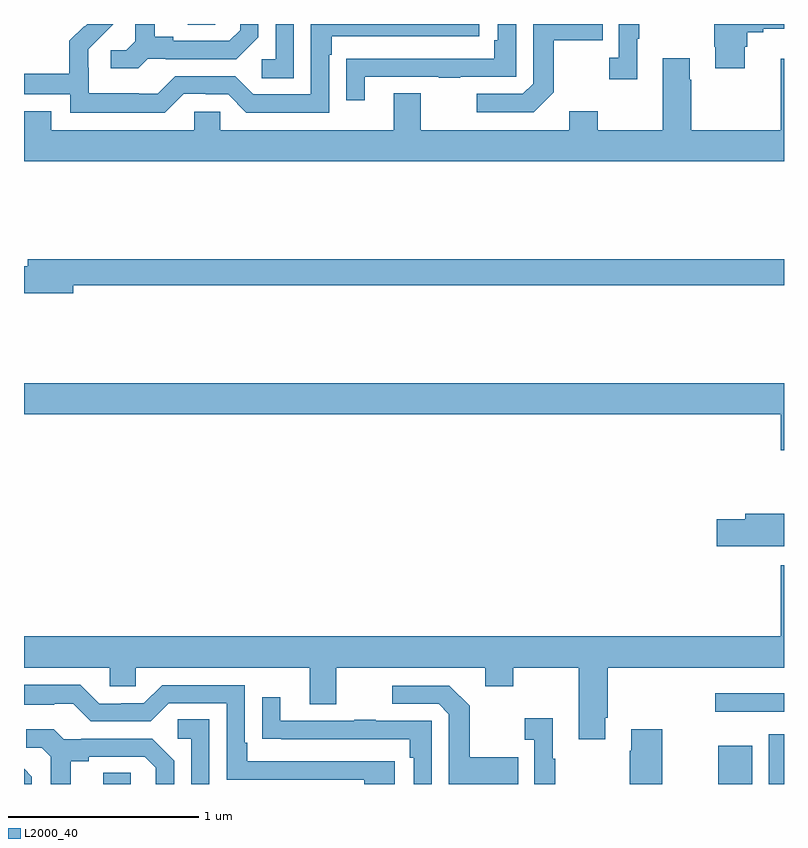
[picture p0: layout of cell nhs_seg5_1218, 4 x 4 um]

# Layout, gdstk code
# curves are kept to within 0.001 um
import gdstk
lib = gdstk.Library(unit=1e-6, precision=1e-09)
def R(c, l, rs):  # rectangles x0, y0, x1, y1
    for r in rs: c.add(gdstk.rectangle(r[:2], r[2:], *l))
def P(c, l, *ps):  # polygons
    for p in ps: c.add(gdstk.Polygon(p, *l))
L2000_40 = (2000, 40)

nhs_seg5_1218 = lib.new_cell('nhs_seg5_1218')
R(nhs_seg5_1218, L2000_40, [(185.417,870.799,185.562,870.857), (188.654,870.799,188.833,871), (188.921,870.799,189,871.06), (188.637,871.179,189,871.276), (185.861,874.795,186.006,874.799)])
P(nhs_seg5_1218, L2000_40, [(186.793,874.521),(187.183,874.521),(187.183,874.516),(187.295,874.516),(187.295,874.521),(187.59,874.521),(187.59,874.799),(187.494,874.799),(187.494,874.714),(187.474,874.714),(187.474,874.617),(186.799,874.617),(186.799,874.616),(186.697,874.616),(186.697,874.398),(186.793,874.398)],
  [(185.841,874.431),(185.957,874.431),(185.957,874.428),(186.075,874.428),(186.171,874.332),(186.606,874.332),(186.606,874.637),(186.619,874.637),(186.619,874.734),(187.396,874.734),(187.396,874.799),(186.51,874.799),(186.51,874.428),(186.207,874.428),(186.111,874.524),(185.796,874.524),(185.703,874.431),(185.603,874.431),(185.603,874.435),(185.34,874.435),(185.34,874.569),(185.338,874.569),(185.338,874.666),(185.469,874.799),(185.333,874.799),(185.319,874.785),(185.316,874.788),(185.239,874.711),(185.239,874.537),(185,874.537),(185,874.428),(185.244,874.428),(185.244,874.331),(185.741,874.331)],
  [(188.794,874.679),(188.807,874.679),(188.807,874.756),(188.89,874.756),(188.89,874.775),(189,874.775),(189,874.799),(188.632,874.799),(188.632,874.678),(188.639,874.678),(188.639,874.566),(188.794,874.566)],
  [(188.227,874.721),(188.239,874.721),(188.239,874.799),(188.13,874.799),(188.13,874.622),(188.079,874.622),(188.079,874.509),(188.227,874.509)],
  [(187.789,874.441),(187.789,874.714),(188.045,874.714),(188.045,874.799),(187.68,874.799),(187.68,874.485),(187.626,874.431),(187.383,874.431),(187.383,874.335),(187.683,874.335)],
  [(186.42,874.799),(186.324,874.799),(186.324,874.614),(186.252,874.614),(186.252,874.513),(186.42,874.513)],
  [(185.652,874.617),(185.746,874.617),(185.746,874.614),(186.118,874.614),(186.234,874.73),(186.234,874.799),(186.137,874.799),(186.137,874.767),(186.08,874.71),(185.785,874.71),(185.785,874.733),(185.689,874.733),(185.689,874.799),(185.585,874.799),(185.585,874.709),(185.538,874.662),(185.457,874.662),(185.457,874.565),(185.6,874.565)],
  [(186.947,874.435),(186.947,874.24),(186.033,874.24),(186.033,874.338),(185.895,874.338),(185.895,874.24),(185.143,874.24),(185.143,874.339),(185,874.339),(185,874.076),(189,874.076),(189,874.615),(188.984,874.615),(188.984,874.24),(188.511,874.24),(188.511,874.505),(188.503,874.505),(188.503,874.618),(188.363,874.618),(188.363,874.24),(188.019,874.24),(188.019,874.339),(187.871,874.339),(187.871,874.24),(187.087,874.24),(187.087,874.435)],
  [(185.26,873.424),(189,873.424),(189,873.56),(185.021,873.56),(185.021,873.524),(185,873.524),(185,873.382),(185.26,873.382)],
  [(189,872.908),(185,872.908),(185,872.744),(188.984,872.744),(188.984,872.556),(189,872.556)],
  [(189,872.221),(188.795,872.221),(188.795,872.192),(188.646,872.192),(188.646,872.05),(189,872.05)],
  [(188.059,871.147),(188.072,871.147),(188.072,871.412),(189,871.412),(189,871.951),(188.984,871.951),(188.984,871.576),(185,871.576),(185,871.412),(185.451,871.412),(185.451,871.314),(185.589,871.314),(185.589,871.412),(186.503,871.412),(186.503,871.218),(186.643,871.218),(186.643,871.412),(187.427,871.412),(187.427,871.313),(187.575,871.313),(187.575,871.412),(187.919,871.412),(187.919,871.035),(188.059,871.035)],
  [(186.952,870.918),(186.175,870.918),(186.175,871.015),(186.162,871.015),(186.162,871.32),(185.727,871.32),(185.631,871.224),(185.513,871.224),(185.513,871.221),(185.397,871.221),(185.297,871.321),(185,871.321),(185,871.217),(185.159,871.217),(185.159,871.221),(185.259,871.221),(185.352,871.128),(185.667,871.128),(185.763,871.224),(186.066,871.224),(186.066,870.822),(186.791,870.822),(186.791,870.799),(186.952,870.799)],
  [(187.601,870.939),(187.345,870.939),(187.345,871.211),(187.239,871.317),(186.939,871.317),(186.939,871.221),(187.182,871.221),(187.236,871.167),(187.236,870.799),(187.601,870.799)],
  [(187.146,871.131),(186.851,871.131),(186.851,871.136),(186.739,871.136),(186.739,871.131),(186.349,871.131),(186.349,871.255),(186.253,871.255),(186.253,871.036),(186.355,871.036),(186.355,871.035),(187.03,871.035),(187.03,870.938),(187.05,870.938),(187.05,870.799),(187.146,870.799)],
  [(187.795,870.931),(187.783,870.931),(187.783,871.144),(187.635,871.144),(187.635,871.031),(187.686,871.031),(187.686,870.799),(187.795,870.799)],
  [(185.976,871.139),(185.808,871.139),(185.808,871.038),(185.88,871.038),(185.88,870.799),(185.976,870.799)],
  [(188.358,871.087),(188.195,871.087),(188.195,870.974),(188.188,870.974),(188.188,870.799),(188.358,870.799)],
  [(185.245,870.92),(185.341,870.92),(185.341,870.942),(185.636,870.942),(185.693,870.885),(185.693,870.799),(185.79,870.799),(185.79,870.922),(185.674,871.038),(185.302,871.038),(185.302,871.035),(185.208,871.035),(185.156,871.087),(185.013,871.087),(185.013,870.99),(185.094,870.99),(185.141,870.943),(185.141,870.799),(185.245,870.799)],
  [(185.04,870.838),(185,870.878),(185,870.799),(185.04,870.799)])

lib.write_gds('nhs_seg5_1218.gds')
